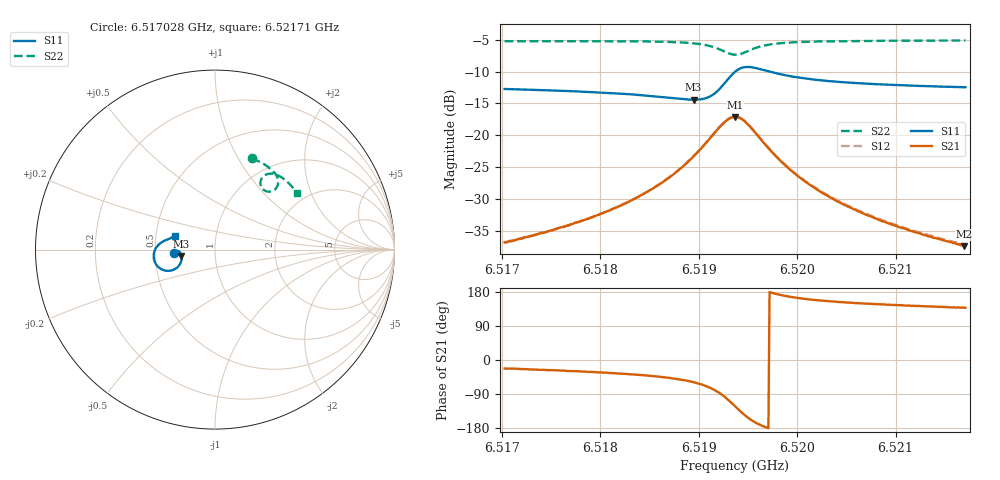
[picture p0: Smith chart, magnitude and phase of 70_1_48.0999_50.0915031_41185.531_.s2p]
#  HZ  S  RI  R  50.00
! Rohde & Schwarz Vector Network Analyzer
! Rohde-Schwarz,ZNB20-2Port,1311601062101988,3.16
! Created: UTC 12/23/2023, 3:41:39 AM
! freq[Hz]  re:S11  im:S11  re:S21  im:S21  re:S12  im:S12  re:S22  im:S22
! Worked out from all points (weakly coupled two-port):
!   401 points, 6.517028 GHz to 6.52171 GHz, reference 50 ohm
!   highest |S21| = -17.12 dB at 6.519369 GHz (marker M1); lowest = -37.4 dB at 6.521698 GHz (marker M2)
!   lowest |S11| = -14.4 dB at 6.518948 GHz (marker M3), VSWR 1.47, Z = 34.2 - j2.47 ohm
!   |S11| at or under -10 dB: start of sweep to 6.519371 GHz; 6.519721 GHz to end of sweep
!   |S22| runs from -7.3 to -5.1 dB; largest |S21 - S12| = 0.0042
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6.5170281e9  -0.2303 -0.0168  0.0133 -0.00547  0.0134 -0.00494  0.2057 0.5085
6.5174378e9  -0.2257 -0.0107  0.0154 -0.00763  0.0157 -0.00705  0.236 0.4956
6.5178123e9  -0.2202 -0.00655  0.0184 -0.0108  0.0188 -0.0103  0.2636 0.4812
6.5182337e9  -0.2116 -0.00466  0.0231 -0.017  0.0238 -0.0163  0.2954 0.4614
6.5185966e9  -0.2006 -0.00953  0.0293 -0.0285  0.0304 -0.0276  0.3236 0.4372
6.5187839e9  -0.1933 -0.0184  0.0334 -0.04  0.0348 -0.0392  0.3383 0.4191
6.5189477e9  -0.1869 -0.0348  0.0355 -0.058  0.0375 -0.0573  0.3492 0.3965
6.5190531e9  -0.1862 -0.0536  0.033 -0.0764  0.0354 -0.0759  0.352 0.3757
6.5191467e9  -0.1936 -0.0781  0.0224 -0.0985  0.0256 -0.0987  0.3468 0.3525
6.5192755e9  -0.2368 -0.1147  -0.0216 -0.1274  -0.0181 -0.1292  0.3132 0.3241
6.5193691e9  -0.295 -0.1111  -0.0737 -0.1182  -0.0709 -0.1211  0.2729 0.3316
6.5194159e9  -0.3204 -0.0922  -0.0943 -0.0988  -0.0921 -0.1024  0.2588 0.348
6.5194745e9  -0.3381 -0.0605  -0.1066 -0.0696  -0.1054 -0.0732  0.2529 0.3724
6.5195798e9  -0.3375 -0.00982  -0.1004 -0.026  -0.1004 -0.0292  0.2674 0.4059
6.5196852e9  -0.321 0.02  -0.0828 -0.00344  -0.0834 -0.00593  0.2904 0.42
6.5199076e9  -0.2899 0.045  -0.0541 0.0119  -0.055 0.0103  0.3296 0.421
6.5201534e9  -0.2694 0.0544  -0.037 0.0142  -0.0378 0.0132  0.3584 0.4098
6.5204928e9  -0.2531 0.061  -0.0249 0.0132  -0.0255 0.0126  0.3869 0.3907
6.5209376e9  -0.2401 0.0676  -0.0167 0.0113  -0.0172 0.011  0.4162 0.3646
6.5213122e9  -0.2321 0.0728  -0.0128 0.0102  -0.0133 0.00992  0.437 0.3417
6.5216985e9  -0.2253 0.0779  -0.01 0.00889  -0.0105 0.00904  0.4565 0.3178
6.5217102e9  -0.2251 0.0782  -0.01 0.00911  -0.0105 0.00892  0.4569 0.3172
